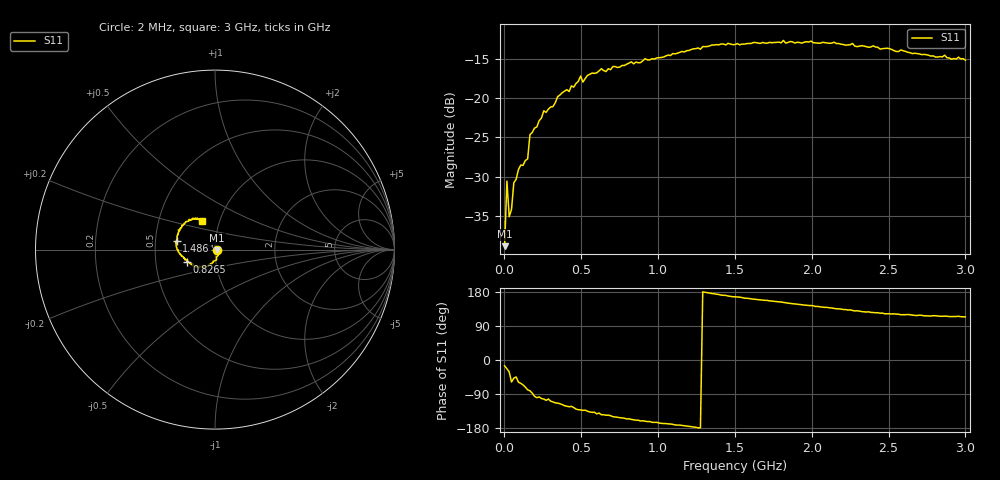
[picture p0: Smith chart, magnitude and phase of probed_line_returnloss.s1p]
! 1-port S-parameter data taken at 201 frequency points
! Created by R&S SxP Library version 0.2.0 at 08-12-2023 12:29:48
# Hz S RI R 50
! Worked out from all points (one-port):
!   201 points, 2 MHz to 3 GHz, reference 50 ohm
!   lowest |S11| = -38.8 dB at 2 MHz (marker M1), VSWR 1.02, Z = 51.1 - j0.317 ohm
!   |S11| at or under -10 dB: start of sweep to end of sweep
!   S11 on the Smith chart (normalised r, x): 2 MHz: 1.02, -0.01; 826.5 MHz: 0.72, -0.10; 1.486 GHz: 0.65, +0.07; 3 GHz: 0.83, +0.27
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2000000  0.0111 -0.0031
1.699e7  0.0274 -0.0116
3.198e7  0.0151 -0.00924
4.697e7  0.0104 -0.0167
6.196e7  0.0195 -0.0216
1.0693e8  0.0179 -0.033
1.519e8  0.00806 -0.0403
1.6689e8  0.00901 -0.0579
2.1186e8  -0.0107 -0.0647
2.5683e8  -0.0186 -0.0809
3.1679e8  -0.0311 -0.0826
3.4677e8  -0.0411 -0.0933
3.7675e8  -0.0501 -0.0958
4.2172e8  -0.0605 -0.0919
4.9667e8  -0.0916 -0.1031
5.1166e8  -0.0861 -0.0924
5.4164e8  -0.099 -0.0982
6.3158e8  -0.1248 -0.0892
6.6156e8  -0.1218 -0.0828
7.515e8  -0.1391 -0.0733
8.2645e8  -0.1559 -0.067
1.12625e9  -0.1904 -0.0276
1.48601e9  -0.2126 0.0492
1.501e9  -0.2124 0.0498
1.87575e9  -0.1939 0.118
2.2505e9  -0.1464 0.161
2.62525e9  -0.0977 0.1689
3e9  -0.0698 0.1592
